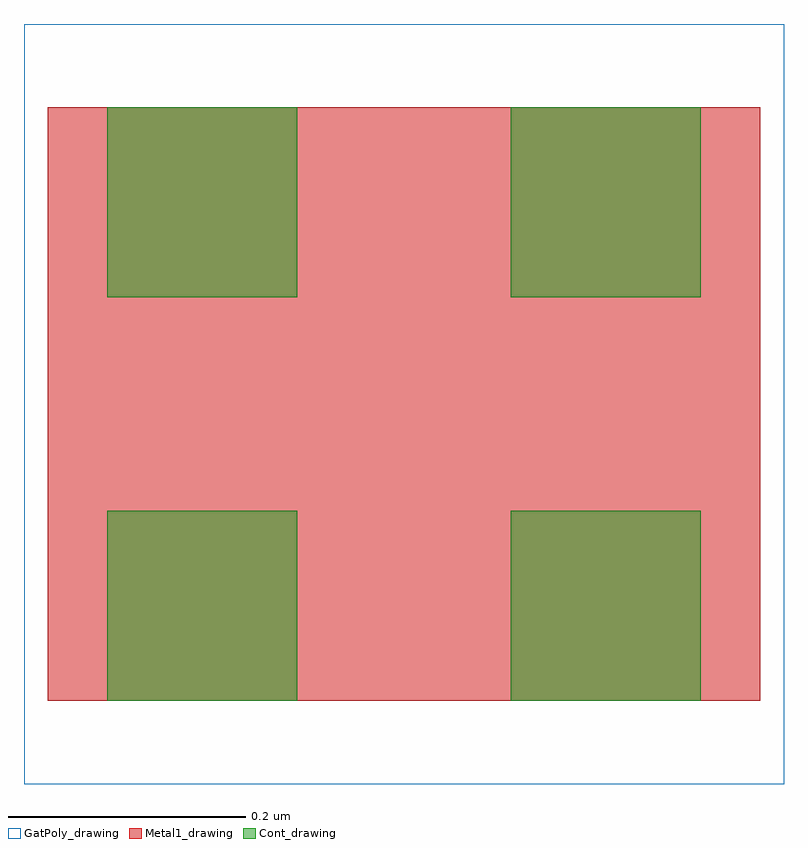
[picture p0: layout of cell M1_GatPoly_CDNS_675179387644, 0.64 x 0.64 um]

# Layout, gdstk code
import gdstk
lib = gdstk.Library(unit=1e-6, precision=1e-09)
def R(c, l, rs):  # rectangles x0, y0, x1, y1
    for r in rs: c.add(gdstk.rectangle(r[:2], r[2:], *l))
GatPoly_drawing = (5, 0)
Cont_drawing = (6, 0)
Metal1_drawing = (8, 0)

m1_gatpoly_cdns_67517938 = lib.new_cell('M1_GatPoly_CDNS_675179387644')
R(m1_gatpoly_cdns_67517938, GatPoly_drawing, [(-0.32,-0.32,0.32,0.32)])
R(m1_gatpoly_cdns_67517938, Cont_drawing, [(-0.25,-0.25,-0.09,-0.09), (0.09,-0.25,0.25,-0.09), (-0.25,0.09,-0.09,0.25), (0.09,0.09,0.25,0.25)])
R(m1_gatpoly_cdns_67517938, Metal1_drawing, [(-0.3,-0.25,0.3,0.25)])

lib.write_gds('M1_GatPoly_CDNS_675179387644.gds')
